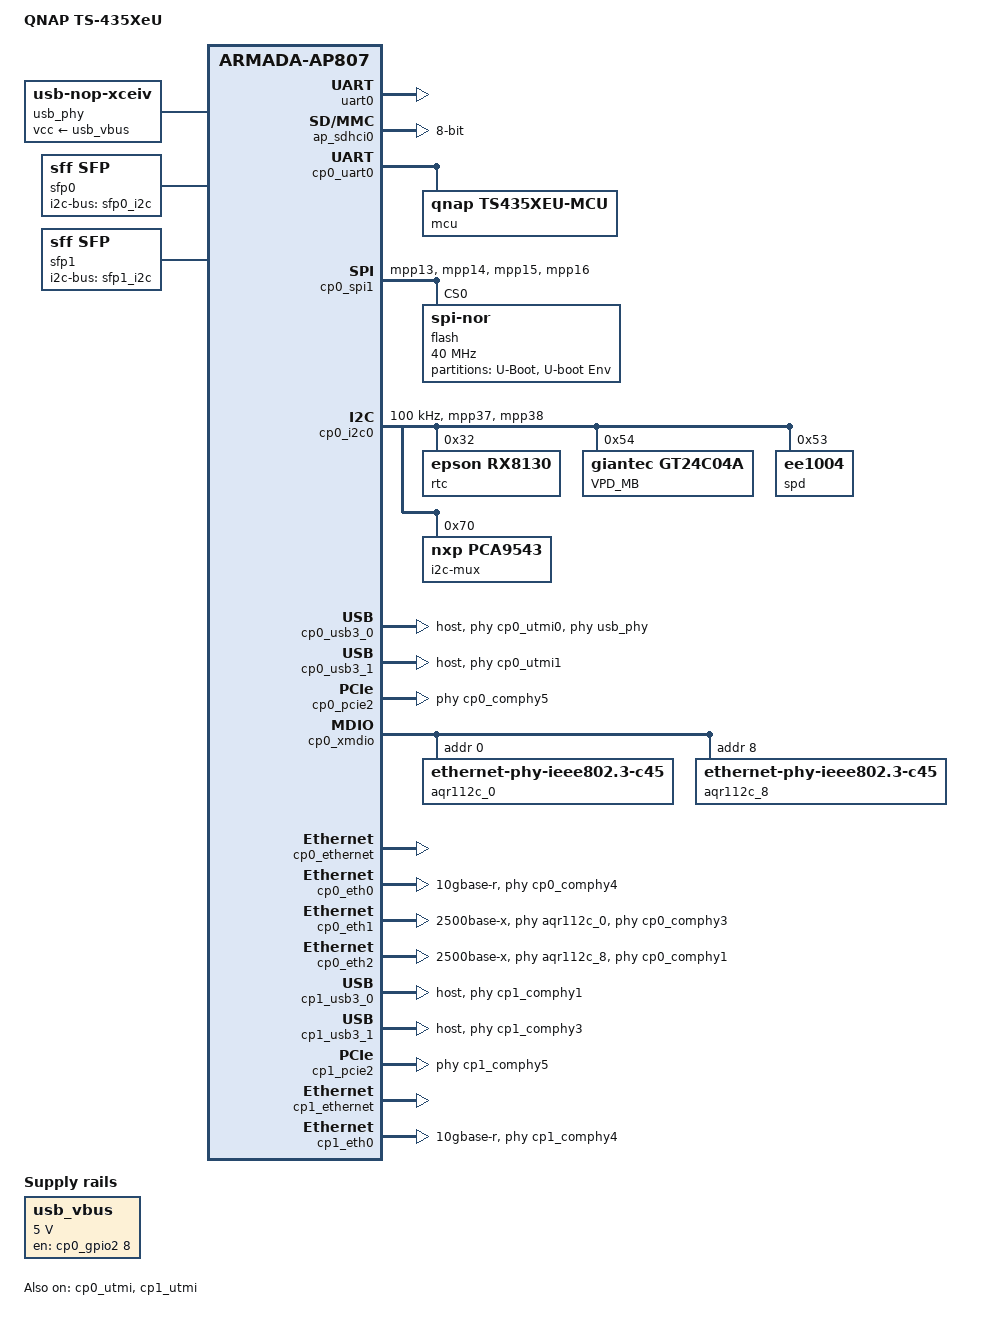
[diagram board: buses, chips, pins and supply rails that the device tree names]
/dts-v1/;

#include <dt-bindings/gpio/gpio.h>
#include "cn9130.dtsi"

/ {
	model = "QNAP TS-435XeU";
	compatible = "qnap,ts-435xeu", "marvell,cn9131", "marvell,cn9130",
		     "marvell,armada-ap807-quad", "marvell,armada-ap807";

	chosen {
		stdout-path = "serial0:115200n8";
	};

	aliases {
		gpio1 = &cp0_gpio1;
		gpio2 = &cp0_gpio2;
		gpio3 = &cp1_gpio1;
		gpio4 = &cp1_gpio2;
	};

	/* All USB buses are reguled via the same GPIO */
	usb_vbus: regulator-usb {
		compatible = "regulator-fixed";
		regulator-name = "usb-vbus";
		regulator-min-microvolt = <5000000>;
		regulator-max-microvolt = <5000000>;
		enable-active-high;
		gpio = <&cp0_gpio2 8 GPIO_ACTIVE_HIGH>;
	};

	usb_phy: usb-phy {
		compatible = "usb-nop-xceiv";
		#phy-cells = <0>;
		vcc-supply = <&usb_vbus>;
	};

	sfp0: sfp-0 {
		compatible = "sff,sfp";
		i2c-bus = <&sfp0_i2c>;
	};

	sfp1: sfp-1 {
		compatible = "sff,sfp";
		i2c-bus = <&sfp1_i2c>;
	};
};

&uart0 {
	pinctrl-0 = <&uart0_pins>;
	pinctrl-names = "default";
	status = "okay";
};

&ap_sdhci0 {
	bus-width = <8>;
	status = "okay";
	mmc-ddr-1_8v;
	mmc-hs400-1_8v;
};

&cp0_syscon0 {
	cp0_pinctrl: pinctrl {
		compatible = "marvell,cp115-standalone-pinctrl";

		cp0_spi0_pins: cp0-spi-pins-0 {
			marvell,pins = "mpp13", "mpp14", "mpp15", "mpp16";
			marvell,function = "spi1";
		};

		cp0_i2c0_pins: cp0-i2c-pins-0 {
			marvell,pins = "mpp37", "mpp38";
			marvell,function = "i2c0";
		};
	};
};

&cp0_gpio1 {
	status = "okay";
};

&cp0_gpio2 {
	status = "okay";
};

&cp0_uart0 {
	status = "okay";

	mcu {
		compatible = "qnap,ts435xeu-mcu";

		fan: fan-0 {
			#cooling-cells = <2>;
			cooling-levels = <0 64 89 128 166 204 221 238>;
		};

		nvmem-layout {
			compatible = "fixed-layout";
			#address-cells = <1>;
			#size-cells = <1>;

			serial-number@0 {
				reg = <0x0 0x13>;
			};

			ext-port@22 {
				reg = <0x22 0x2>;
			};

			mac0: macaddr@24 {
				compatible = "mac-base";
				reg = <0x24 0x11>;
				#nvmem-cell-cells = <1>;
			};

			mac1: macaddr@35 {
				compatible = "mac-base";
				reg = <0x35 0x11>;
				#nvmem-cell-cells = <1>;
			};

			mac2: macaddr@46 {
				compatible = "mac-base";
				reg = <0x46 0x11>;
				#nvmem-cell-cells = <1>;
			};

			mac3: macaddr@57 {
				compatible = "mac-base";
				reg = <0x57 0x11>;
				#nvmem-cell-cells = <1>;
			};
		};
	};
};

&cp0_spi1 {
	status = "okay";
	pinctrl-names = "default";
	pinctrl-0 = <&cp0_spi0_pins>;
	reg = <0x700680 0x50>;

	flash@0 {
		compatible = "jedec,spi-nor";
		reg = <0>;
		spi-max-frequency = <40000000>;

		partitions {
			compatible = "fixed-partitions";
			#address-cells = <1>;
			#size-cells = <1>;

			partition@0 {
				label = "U-Boot";
				reg = <0x0 0x3e0000>;
			};

			partition@3f0000 {
				label = "U-boot Env";
				reg = <0x3f0000 0x10000>;
			};
		};
	};
};

&cp0_i2c0 {
	status = "okay";
	pinctrl-names = "default";
	pinctrl-0 = <&cp0_i2c0_pins>;
	clock-frequency = <100000>;

	rtc@32 {
		compatible = "epson,rx8130";
		reg = <0x32>;
		wakeup-source;
		trickle-diode-disable;
	};

	eeprom@54 {
		compatible = "giantec,gt24c04a", "atmel,24c04";
		reg = <0x54>;
		label = "VPD_MB";
		num-addresses = <2>;
		pagesize = <16>;
		read-only;
	};

	spd@53 {
		compatible = "ee1004";
		reg = <0x53>;
	};

	i2c-mux@70 {
		compatible = "nxp,pca9543";
		reg = <0x70>;
		#address-cells = <1>;
		#size-cells = <0>;

		sfp0_i2c: i2c@0 {
			reg = <0>;
		};

		sfp1_i2c: i2c@1 {
			reg = <1>;
		};
	};
};

&cp0_utmi {
	status = "okay";
};

&cp0_usb3_0 {
	status = "okay";
	usb-phy = <&usb_phy>;
	phys = <&cp0_utmi0>;
	phy-names = "utmi";
	dr_mode = "host";
};

&cp0_usb3_1 {
	status = "okay";
	phys = <&cp0_utmi1>;
	phy-names = "utmi";
	dr_mode = "host";
};

&cp0_pcie2 {
	status = "okay";
	num-viewport = <8>;
	phys = <&cp0_comphy5 2>;
};

&cp0_xmdio {
	status = "okay";

	aqr112c_0: ethernet-phy@0 {
		compatible = "ethernet-phy-ieee802.3-c45";
		reg = <0>;
	};

	aqr112c_8: ethernet-phy@8 {
		compatible = "ethernet-phy-ieee802.3-c45";
		reg = <8>;
	};
};

&cp0_ethernet {
	status = "okay";
};

&cp0_eth0 {
	status = "okay";
	phys = <&cp0_comphy4 0>;
	phy-mode = "10gbase-r";
	managed = "in-band-status";
	sfp = <&sfp0>;
	nvmem-cells = <&mac2 0>;
	nvmem-cell-names = "mac-address";
};

&cp0_eth1 {
	status = "okay";
	phys = <&cp0_comphy3 1>;
	phy = <&aqr112c_0>;
	phy-mode = "2500base-x";
	nvmem-cells = <&mac0 0>;
	nvmem-cell-names = "mac-address";
};

&cp0_eth2 {
	status = "okay";
	phys = <&cp0_comphy1 2>;
	phy = <&aqr112c_8>;
	phy-mode = "2500base-x";
	nvmem-cells = <&mac1 0>;
	nvmem-cell-names = "mac-address";
};

/*
 * Instantiate the first slave CP115
 */

#define CP11X_NAME		cp1
#define CP11X_BASE		f4000000
#define CP11X_PCIEx_MEM_BASE(iface) (0xe2000000 + (iface * 0x1000000))
#define CP11X_PCIEx_MEM_SIZE(iface) 0xf00000
#define CP11X_PCIE0_BASE	f4600000
#define CP11X_PCIE1_BASE	f4620000
#define CP11X_PCIE2_BASE	f4640000

#include "armada-cp115.dtsi"

#undef CP11X_NAME
#undef CP11X_BASE
#undef CP11X_PCIEx_MEM_BASE
#undef CP11X_PCIEx_MEM_SIZE
#undef CP11X_PCIE0_BASE
#undef CP11X_PCIE1_BASE
#undef CP11X_PCIE2_BASE

&cp1_syscon0 {
	cp1_pinctrl: pinctrl {
		compatible = "marvell,cp115-standalone-pinctrl";
	};
};

&cp1_gpio1 {
	status = "okay";
};

&cp1_gpio2 {
	status = "okay";
};

&cp1_utmi {
	status = "okay";
};

&cp1_usb3_0 {
	status = "okay";
	phys = <&cp1_comphy1 0>, <&cp1_utmi0>;
	phy-names = "usb", "utmi";
	dr_mode = "host";
};

&cp1_usb3_1 {
	status = "okay";
	phys = <&cp1_comphy3 1>, <&cp1_utmi1>;
	phy-names = "usb", "utmi";
	dr_mode = "host";
};

&cp1_pcie2 {
	status = "okay";
	num-viewport = <8>;
	phys = <&cp1_comphy5 2>;
};

&cp1_ethernet {
	status = "okay";
};

&cp1_eth0 {
	status = "okay";
	phys = <&cp1_comphy4 0>;
	phy-mode = "10gbase-r";
	managed = "in-band-status";
	nvmem-cells = <&mac3 0>;
	nvmem-cell-names = "mac-address";
};
